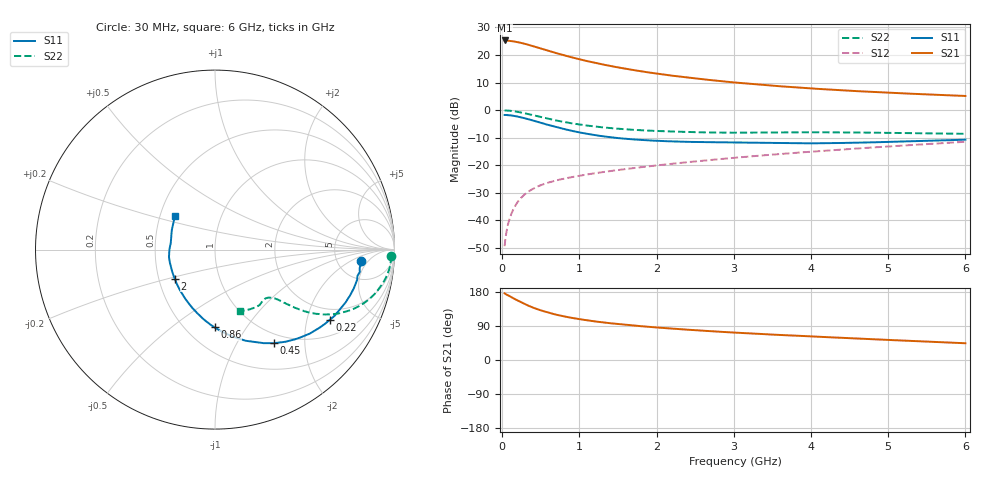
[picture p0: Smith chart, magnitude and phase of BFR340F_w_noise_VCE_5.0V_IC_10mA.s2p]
! Infineon Technologies  Discrete & RF Semiconductors
! BFR340F
! VCE =  5.0 V,  IC =  10 mA
! Common Emitter S-Parameters:  Nov 2015
# GHz  S  MA  R  50
!  f  S11  S21  S12  S22
! GHz  MAG  ANG  MAG  ANG  MAG  ANG  MAG  ANG
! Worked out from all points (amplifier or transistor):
!   206 points, 30 MHz to 6 GHz, reference 50 ohm
!   highest |S21| = 25.3 dB at 30 MHz (marker M1)
!   |S21| within 3 dB of that: start of sweep to 508.7 MHz
!   unconditionally stable (mu >= 1): 2.372 GHz to 5.183 GHz
!   at 200 MHz: K = 0.18, MSG = 29.0 dB, |S12| = -33.3 dB
!   at 1.56 GHz: K = 0.88, MSG = 18.4 dB, |S12| = -21.5 dB
!   at 6 GHz: K = 0.97, MSG = 8.3 dB, |S12| = -11.5 dB
!   lowest NFmin = 1.46 dB at 450 MHz
!   S11 on the Smith chart (normalised r, x): 30 MHz: 8.67, -3.16; 220 MHz: 1.55, -2.77; 450 MHz: 0.86, -1.45; 860 MHz: 0.68, -0.73; 2 GHz: 0.60, -0.21; 6 GHz: 0.60, +0.24
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0.03  0.8154 -4.3  18.31 175.9  0.0034 86.8  0.983 -2.1
0.05  0.8123 -7.3  18.12 173.1  0.0057 86.4  0.9817 -3.7
0.07  0.8072 -10.4  18.17 171.0  0.0081 84.5  0.9798 -5.4
0.14  0.7887 -20.5  17.69 163.3  0.0156 79.7  0.957 -10.8
0.22  0.7496 -31.4  16.83 154.7  0.0234 74.6  0.9164 -16.3
0.3  0.7058 -41.5  15.81 146.7  0.0303 70.5  0.8688 -20.9
0.34  0.6812 -46.1  15.25 143.1  0.0333 68.8  0.8433 -22.9
0.45  0.6167 -57.7  13.73 134.3  0.0407 65.1  0.7755 -27.3
0.62  0.5263 -72.9  11.64 123.6  0.0494 61.4  0.6836 -31.7
0.7  0.491 -79.2  10.79 119.4  0.0531 60.5  0.6468 -33.2
0.86  0.4329 -90.3  9.359 112.7  0.0593 59.6  0.588 -35.0
1.04  0.3838 -101.4  8.096 106.5  0.0659 59.3  0.5375 -36.3
1.2  0.3515 -110.4  7.194 101.8  0.0715 59.6  0.5028 -37.1
1.4  0.3221 -120.4  6.306 97.0  0.0783 60.2  0.4707 -37.8
1.7  0.2936 -133.4  5.314 90.9  0.0886 61.3  0.4383 -38.9
2  0.2771 -144.2  4.591 85.8  0.0991 62.4  0.4179 -40.0
2.02  0.2763 -144.8  4.552 85.5  0.0998 62.5  0.4169 -40.1
2.6  0.2629 -162.0  3.616 77.3  0.121 64.0  0.3945 -43.1
3.1  0.258 -172.8  3.09 71.4  0.14 64.8  0.3894 -46.2
4.1  0.2499 169.7  2.419 61.3  0.1799 65.2  0.3957 -51.7
5.1  0.2665 153.6  2.037 52.1  0.2231 64.5  0.3854 -59.6
6  0.2909 139.9  1.803 44.2  0.266 62.9  0.3708 -67.8
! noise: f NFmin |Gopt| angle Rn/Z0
0.45  1.46  0.25  -1  0.28
0.9  1.58  0.23  10  0.3
1.9  2.07  0.09  -23  0.3
2.4  2.36  0.04  -58  0.31
